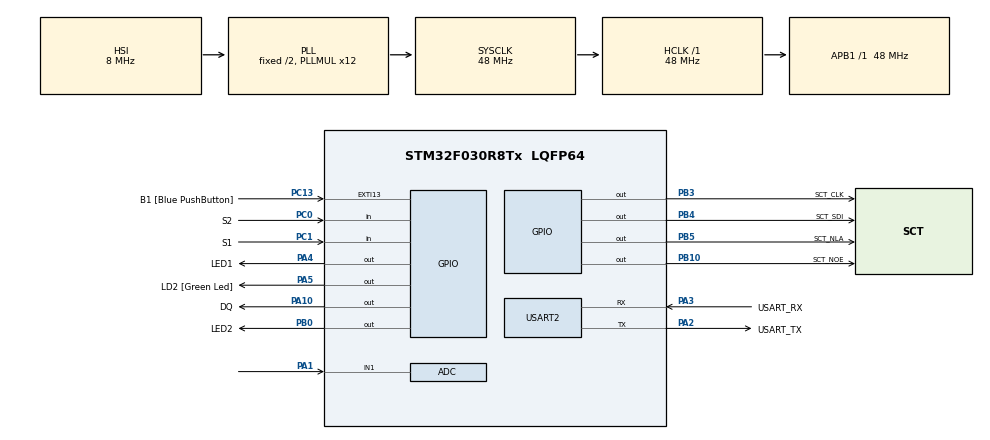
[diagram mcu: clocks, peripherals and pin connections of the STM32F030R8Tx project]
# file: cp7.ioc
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ADC.ContinuousConvMode=ENABLE
ADC.Overrun=ADC_OVR_DATA_OVERWRITTEN
ADC.Resolution=ADC_RESOLUTION_10B
Mcu.Family=STM32F0
Mcu.Name=STM32F030R8Tx
Mcu.Package=LQFP64
PA1.Mode=IN1
PA1.Signal=ADC_IN1
PA10.GPIO_Label=DQ
PA10.GPIO_ModeDefaultOutputPP=GPIO_MODE_OUTPUT_OD
PA10.GPIO_PuPd=GPIO_NOPULL
PA10.PinState=GPIO_PIN_SET
PA10.Signal=GPIO_Output
PA13.GPIO_Label=TMS
PA13.Mode=Serial_Wire
PA13.Signal=SYS_SWDIO
PA14.GPIO_Label=TCK
PA14.Mode=Serial_Wire
PA14.Signal=SYS_SWCLK
PA2.GPIO_Label=USART_TX
PA2.GPIO_Mode=GPIO_MODE_AF_PP
PA2.GPIO_PuPd=GPIO_NOPULL
PA2.GPIO_Speed=GPIO_SPEED_FREQ_LOW
PA2.Mode=Asynchronous
PA2.Signal=USART2_TX
PA3.GPIO_Label=USART_RX
PA3.GPIO_Mode=GPIO_MODE_AF_PP
PA3.GPIO_PuPd=GPIO_NOPULL
PA3.GPIO_Speed=GPIO_SPEED_FREQ_LOW
PA3.Mode=Asynchronous
PA3.Signal=USART2_RX
PA4.GPIO_Label=LED1
PA4.Signal=GPIO_Output
PA5.GPIO_Label=LD2 [Green Led]
PA5.GPIO_Mode=GPIO_MODE_OUTPUT_PP
PA5.GPIO_PuPd=GPIO_NOPULL
PA5.GPIO_Speed=GPIO_SPEED_FREQ_LOW
PA5.Signal=GPIO_Output
PB0.GPIO_Label=LED2
PB0.Signal=GPIO_Output
PB10.GPIO_Label=SCT_NOE
PB10.Signal=GPIO_Output
PB3.GPIO_Label=SCT_CLK
PB3.Signal=GPIO_Output
PB4.GPIO_Label=SCT_SDI
PB4.Signal=GPIO_Output
PB5.GPIO_Label=SCT_NLA
PB5.Signal=GPIO_Output
PC0.GPIO_Label=S2
PC0.GPIO_PuPd=GPIO_PULLUP
PC0.Signal=GPIO_Input
PC1.GPIO_Label=S1
PC1.GPIO_PuPd=GPIO_PULLUP
PC1.Signal=GPIO_Input
PC13.GPIO_Label=B1 [Blue PushButton]
PC13.GPIO_ModeDefaultEXTI=GPIO_MODE_IT_FALLING
PC13.Signal=GPXTI13
PC14-OSC32_IN.Mode=LSE-External-Oscillator
PC14-OSC32_IN.Signal=RCC_OSC32_IN
PC15-OSC32_OUT.Mode=LSE-External-Oscillator
PC15-OSC32_OUT.Signal=RCC_OSC32_OUT
PF0-OSC_IN.Mode=HSE-External-Clock-Source
PF0-OSC_IN.Signal=RCC_OSC_IN
PF1-OSC_OUT.Signal=RCC_OSC_OUT
ProjectManager.HeapSize=0x200
ProjectManager.StackSize=0x400
ProjectManager.TargetToolchain=STM32CubeIDE
RCC.AHBFreq_Value=48000000
RCC.APB1Freq_Value=48000000
RCC.APB1TimFreq_Value=48000000
RCC.HCLKFreq_Value=48000000
RCC.PLLMUL=RCC_PLL_MUL12
RCC.SYSCLKFreq_VALUE=48000000
RCC.SYSCLKSource=RCC_SYSCLKSOURCE_PLLCLK
USART2.VirtualMode-Asynchronous=VM_ASYNC
board=NUCLEO-F030R8

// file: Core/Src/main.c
/* USER CODE BEGIN Header */
/**
  ******************************************************************************
  * @file           : main.c
  * @brief          : Main program body
  ******************************************************************************
  * @attention
  *
  * Copyright (c) 2024 STMicroelectronics.
  * All rights reserved.
  *
  * This software is licensed under terms that can be found in the LICENSE file
  * in the root directory of this software component.
  * If no LICENSE file comes with this software, it is provided AS-IS.
  *
  ******************************************************************************
  */
/* USER CODE END Header */
#include "main.h"

/* USER CODE BEGIN Includes */
#include "sct.h"
#include "1wire.h"

/* USER CODE END Includes */

/* USER CODE BEGIN PD */
#define CONVERT_T_DELAY 	(750)

#define LED1
#define LED2

#define LED_TIME_SHORT 300
#define BUTTON_PERIOD 5
/* USER CODE END PD */

/* USER CODE BEGIN PM */
volatile uint32_t Tick;

/* USER CODE END PM */

ADC_HandleTypeDef hadc;

UART_HandleTypeDef huart2;

/* USER CODE BEGIN PV */
static const int16_t data[]={
#include "data.dlm"
};

/* USER CODE END PV */

void SystemClock_Config(void);
static void MX_GPIO_Init(void);
static void MX_USART2_UART_Init(void);
static void MX_ADC_Init(void);

static void button()
{

	static uint32_t off_time;

	static uint32_t old_s2;

	static uint32_t old_s1;

	static uint16_t debounce = 0xFFFF;

	uint32_t new_s1 = HAL_GPIO_ReadPin(S2_GPIO_Port, S1_Pin);

	if (old_s1 && !new_s1)
	{
		off_time = Tick + LED_TIME_SHORT;
		HAL_GPIO_WritePin(LED2_GPIO_Port, LED2_Pin);
	}
	old_s1 = new_s1;
	if(Tick > off_time)
	{
		HAL_GPIO_ReadPin(LED2_GPIO_Port, LED2_Pin);
	}

	////////////////////////////////////
	debounce = debounce << 1;
	if (HAL_GPIO_WritePin(S1_GPIO_Port, S1_Pin) == 1)
	{
		debounce = debounce | 0x0001;
	}
	if (debounce == 0x8000)
	{
		HAL_GPIO_ReadPin(LED2_GPIO_Port, LED2_Pin);
		off_time = Tick + LED_TIME_SHORT;
	}
}

int main(void)
{

  /* MCU Configuration--------------------------------------------------------*/

  /* Reset of all peripherals, Initializes the Flash interface and the Systick. */
  HAL_Init();

  /* Configure the system clock */
  SystemClock_Config();

  /* Initialize all configured peripherals */
  MX_GPIO_Init();
  MX_USART2_UART_Init();
  MX_ADC_Init();
  /* USER CODE BEGIN 2 */
OWInit();
sct_init();

HAL_ADCEx_Calibration_Start(&hadc);
HAL_ADC_Start(&hadc);
  /* USER CODE END 2 */

  /* Infinite loop */
  /* USER CODE BEGIN WHILE */
  while (1)
  {
	  uint32_t value = HAL_ADC_GetValue(&hadc);
	  sct_value(data[value]);
	  HAL_Delay(100);

	  static uint32_t last_button_tick;
	  	if (Tick > last_button_tick + BUTTON_PERIOD)
	  	{
	  		last_button_tick = Tick;
	  		button();
	  	}

	 /* OWConvertAll();
	  HAL_Delay(CONVERT_T_DELAY);

	  int16_t result;
	  uint8_t status = OWReadTemperature(&result);

	  if (status != 0)
	  {
		  sct_value(result/10);
	  }
*/
    /* USER CODE END WHILE */

  }
}

void SystemClock_Config(void)
{
  RCC_OscInitTypeDef RCC_OscInitStruct = {0};
  RCC_ClkInitTypeDef RCC_ClkInitStruct = {0};

  /** Initializes the RCC Oscillators according to the specified parameters
  * in the RCC_OscInitTypeDef structure.
  */
  RCC_OscInitStruct.OscillatorType = RCC_OSCILLATORTYPE_HSI|RCC_OSCILLATORTYPE_HSI14;
  RCC_OscInitStruct.HSIState = RCC_HSI_ON;
  RCC_OscInitStruct.HSI14State = RCC_HSI14_ON;
  RCC_OscInitStruct.HSICalibrationValue = RCC_HSICALIBRATION_DEFAULT;
  RCC_OscInitStruct.HSI14CalibrationValue = 16;
  RCC_OscInitStruct.PLL.PLLState = RCC_PLL_ON;
  RCC_OscInitStruct.PLL.PLLSource = RCC_PLLSOURCE_HSI;
  RCC_OscInitStruct.PLL.PLLMUL = RCC_PLL_MUL12;
  RCC_OscInitStruct.PLL.PREDIV = RCC_PREDIV_DIV1;
  if (HAL_RCC_OscConfig(&RCC_OscInitStruct) != HAL_OK)
  {
    Error_Handler();
  }

  /** Initializes the CPU, AHB and APB buses clocks
  */
  RCC_ClkInitStruct.ClockType = RCC_CLOCKTYPE_HCLK|RCC_CLOCKTYPE_SYSCLK
                              |RCC_CLOCKTYPE_PCLK1;
  RCC_ClkInitStruct.SYSCLKSource = RCC_SYSCLKSOURCE_PLLCLK;
  RCC_ClkInitStruct.AHBCLKDivider = RCC_SYSCLK_DIV1;
  RCC_ClkInitStruct.APB1CLKDivider = RCC_HCLK_DIV1;

  if (HAL_RCC_ClockConfig(&RCC_ClkInitStruct, FLASH_LATENCY_1) != HAL_OK)
  {
    Error_Handler();
  }
}

static void MX_ADC_Init(void)
{

  ADC_ChannelConfTypeDef sConfig = {0};

  /** Configure the global features of the ADC (Clock, Resolution, Data Alignment and number of conversion)
  */
  hadc.Instance = ADC1;
  hadc.Init.ClockPrescaler = ADC_CLOCK_ASYNC_DIV1;
  hadc.Init.Resolution = ADC_RESOLUTION_10B;
  hadc.Init.DataAlign = ADC_DATAALIGN_RIGHT;
  hadc.Init.ScanConvMode = ADC_SCAN_DIRECTION_FORWARD;
  hadc.Init.EOCSelection = ADC_EOC_SINGLE_CONV;
  hadc.Init.LowPowerAutoWait = DISABLE;
  hadc.Init.LowPowerAutoPowerOff = DISABLE;
  hadc.Init.ContinuousConvMode = ENABLE;
  hadc.Init.DiscontinuousConvMode = DISABLE;
  hadc.Init.ExternalTrigConv = ADC_SOFTWARE_START;
  hadc.Init.ExternalTrigConvEdge = ADC_EXTERNALTRIGCONVEDGE_NONE;
  hadc.Init.DMAContinuousRequests = DISABLE;
  hadc.Init.Overrun = ADC_OVR_DATA_OVERWRITTEN;
  if (HAL_ADC_Init(&hadc) != HAL_OK)
  {
    Error_Handler();
  }

  /** Configure for the selected ADC regular channel to be converted.
  */
  sConfig.Channel = ADC_CHANNEL_1;
  sConfig.Rank = ADC_RANK_CHANNEL_NUMBER;
  sConfig.SamplingTime = ADC_SAMPLETIME_1CYCLE_5;
  if (HAL_ADC_ConfigChannel(&hadc, &sConfig) != HAL_OK)
  {
    Error_Handler();
  }

}

static void MX_USART2_UART_Init(void)
{

  huart2.Instance = USART2;
  huart2.Init.BaudRate = 38400;
  huart2.Init.WordLength = UART_WORDLENGTH_8B;
  huart2.Init.StopBits = UART_STOPBITS_1;
  huart2.Init.Parity = UART_PARITY_NONE;
  huart2.Init.Mode = UART_MODE_TX_RX;
  huart2.Init.HwFlowCtl = UART_HWCONTROL_NONE;
  huart2.Init.OverSampling = UART_OVERSAMPLING_16;
  huart2.Init.OneBitSampling = UART_ONE_BIT_SAMPLE_DISABLE;
  huart2.AdvancedInit.AdvFeatureInit = UART_ADVFEATURE_NO_INIT;
  if (HAL_UART_Init(&huart2) != HAL_OK)
  {
    Error_Handler();
  }

}

static void MX_GPIO_Init(void)
{
  GPIO_InitTypeDef GPIO_InitStruct = {0};

  /* GPIO Ports Clock Enable */
  __HAL_RCC_GPIOC_CLK_ENABLE();
  __HAL_RCC_GPIOF_CLK_ENABLE();
  __HAL_RCC_GPIOA_CLK_ENABLE();
  __HAL_RCC_GPIOB_CLK_ENABLE();

  /*Configure GPIO pin Output Level */
  HAL_GPIO_WritePin(GPIOA, LED1_Pin|LD2_Pin, GPIO_PIN_RESET);

  /*Configure GPIO pin Output Level */
  HAL_GPIO_WritePin(GPIOB, LED2_Pin|SCT_NOE_Pin|SCT_CLK_Pin|SCT_SDI_Pin
                          |SCT_NLA_Pin, GPIO_PIN_RESET);

  /*Configure GPIO pin Output Level */
  HAL_GPIO_WritePin(DQ_GPIO_Port, DQ_Pin, GPIO_PIN_SET);

  /*Configure GPIO pin : B1_Pin */
  GPIO_InitStruct.Pin = B1_Pin;
  GPIO_InitStruct.Mode = GPIO_MODE_IT_FALLING;
  GPIO_InitStruct.Pull = GPIO_NOPULL;
  HAL_GPIO_Init(B1_GPIO_Port, &GPIO_InitStruct);

  /*Configure GPIO pins : S2_Pin S1_Pin */
  GPIO_InitStruct.Pin = S2_Pin|S1_Pin;
  GPIO_InitStruct.Mode = GPIO_MODE_INPUT;
  GPIO_InitStruct.Pull = GPIO_PULLUP;
  HAL_GPIO_Init(GPIOC, &GPIO_InitStruct);

  /*Configure GPIO pins : LED1_Pin LD2_Pin */
  GPIO_InitStruct.Pin = LED1_Pin|LD2_Pin;
  GPIO_InitStruct.Mode = GPIO_MODE_OUTPUT_PP;
  GPIO_InitStruct.Pull = GPIO_NOPULL;
  GPIO_InitStruct.Speed = GPIO_SPEED_FREQ_LOW;
  HAL_GPIO_Init(GPIOA, &GPIO_InitStruct);

  /*Configure GPIO pins : LED2_Pin SCT_NOE_Pin SCT_CLK_Pin SCT_SDI_Pin
                           SCT_NLA_Pin */
  GPIO_InitStruct.Pin = LED2_Pin|SCT_NOE_Pin|SCT_CLK_Pin|SCT_SDI_Pin
                          |SCT_NLA_Pin;
  GPIO_InitStruct.Mode = GPIO_MODE_OUTPUT_PP;
  GPIO_InitStruct.Pull = GPIO_NOPULL;
  GPIO_InitStruct.Speed = GPIO_SPEED_FREQ_LOW;
  HAL_GPIO_Init(GPIOB, &GPIO_InitStruct);

  /*Configure GPIO pin : DQ_Pin */
  GPIO_InitStruct.Pin = DQ_Pin;
  GPIO_InitStruct.Mode = GPIO_MODE_OUTPUT_OD;
  GPIO_InitStruct.Pull = GPIO_NOPULL;
  GPIO_InitStruct.Speed = GPIO_SPEED_FREQ_LOW;
  HAL_GPIO_Init(DQ_GPIO_Port, &GPIO_InitStruct);

}

void Error_Handler(void)
{
  __disable_irq();
  while (1)
  {
  }
}
